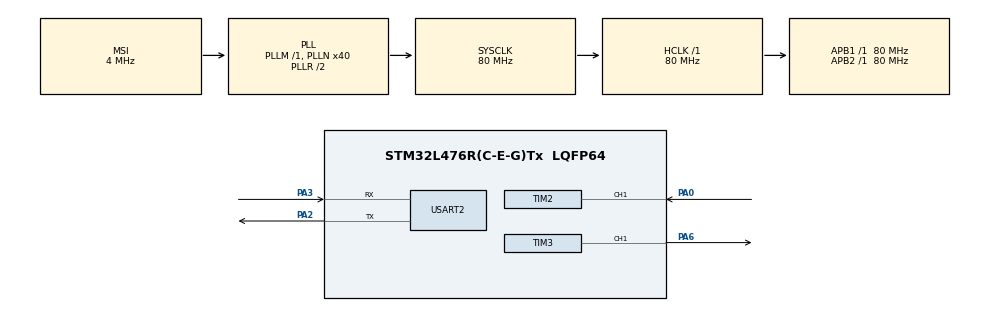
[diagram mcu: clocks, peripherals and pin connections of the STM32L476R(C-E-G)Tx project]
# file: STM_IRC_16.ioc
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Dma.Request0=TIM3_CH1/TRIG
Dma.TIM3_CH1/TRIG.0.Direction=DMA_MEMORY_TO_PERIPH
Dma.TIM3_CH1/TRIG.0.Instance=DMA1_Channel6
Dma.TIM3_CH1/TRIG.0.MemDataAlignment=DMA_MDATAALIGN_BYTE
Dma.TIM3_CH1/TRIG.0.MemInc=DMA_MINC_ENABLE
Dma.TIM3_CH1/TRIG.0.Mode=DMA_NORMAL
Dma.TIM3_CH1/TRIG.0.PeriphDataAlignment=DMA_PDATAALIGN_HALFWORD
Dma.TIM3_CH1/TRIG.0.PeriphInc=DMA_PINC_DISABLE
Dma.TIM3_CH1/TRIG.0.Priority=DMA_PRIORITY_LOW
Mcu.Family=STM32L4
Mcu.Name=STM32L476R(C-E-G)Tx
Mcu.Package=LQFP64
NVIC.DMA1_Channel6_IRQn=true\:0\:0\:false\:false\:true\:false\:true\:true
NVIC.PriorityGroup=NVIC_PRIORITYGROUP_4
NVIC.TIM2_IRQn=true\:2\:0\:true\:false\:true\:true\:true\:true
PA0.Signal=S_TIM2_CH1
PA13\ (JTMS-SWDIO).Mode=Serial_Wire
PA13\ (JTMS-SWDIO).Signal=SYS_JTMS-SWDIO
PA14\ (JTCK-SWCLK).Mode=Serial_Wire
PA14\ (JTCK-SWCLK).Signal=SYS_JTCK-SWCLK
PA2.Mode=Asynchronous
PA2.Signal=USART2_TX
PA3.Mode=Asynchronous
PA3.Signal=USART2_RX
PA6.Signal=S_TIM3_CH1
ProjectManager.HeapSize=0x200
ProjectManager.StackSize=0x400
ProjectManager.TargetToolchain=STM32CubeIDE
RCC.AHBFreq_Value=80000000
RCC.APB1Freq_Value=80000000
RCC.APB1TimFreq_Value=80000000
RCC.APB2Freq_Value=80000000
RCC.APB2TimFreq_Value=80000000
RCC.CortexFreq_Value=80000000
RCC.HCLKFreq_Value=80000000
RCC.HSE_VALUE=8000000
RCC.HSI_VALUE=16000000
RCC.LSE_VALUE=32768
RCC.MSI_VALUE=4000000
RCC.PLLN=40
RCC.SYSCLKFreq_VALUE=80000000
RCC.SYSCLKSource=RCC_SYSCLKSOURCE_PLLCLK
RCC.VCOOutputFreq_Value=160000000
SH.S_TIM2_CH1.0=TIM2_CH1,TriggerSource_TI1ED
SH.S_TIM2_CH1.1=TIM2_CH1,Input_Capture1_from_TI1
SH.S_TIM3_CH1.0=TIM3_CH1,PWM Generation1 CH1
TIM2.Channel-Input_Capture1_from_TI1=TIM_CHANNEL_1
TIM2.ICPolarity_CH1=TIM_INPUTCHANNELPOLARITY_FALLING
TIM2.Prescaler=79
TIM3.Channel-PWM\ Generation1\ CH1=TIM_CHANNEL_1
TIM3.Period=99
USART2.VirtualMode-Asynchronous=VM_ASYNC
VP_TIM2_VS_ClockSourceINT.Mode=Internal
VP_TIM2_VS_ControllerModeReset.Mode=Reset Mode
VP_TIM3_VS_ClockSourceINT.Mode=Internal
board=custom

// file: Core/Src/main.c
/* USER CODE BEGIN Header */
/**
  ******************************************************************************
  * @file           : main.c
  * @brief          : Main program body
  ******************************************************************************
  * @attention
  *
  * Copyright (c) 2024 STMicroelectronics.
  * All rights reserved.
  *
  * This software is licensed under terms that can be found in the LICENSE file
  * in the root directory of this software component.
  * If no LICENSE file comes with this software, it is provided AS-IS.
  *
  ******************************************************************************
  */
/* USER CODE END Header */
#include "main.h"
#include "dma.h"
#include "tim.h"
#include "usart.h"
#include "gpio.h"

/* USER CODE BEGIN Includes */
#include <stdio.h>
#include "ir.h"
#include "ws2812b.h"
/* USER CODE END Includes */

void SystemClock_Config(void);

/* USER CODE BEGIN 0 */
int __io_putchar(int ch)
{
	if(ch == '\n')
		__io_putchar('\r');

	HAL_UART_Transmit(&huart2, (uint8_t*)&ch, 1, HAL_MAX_DELAY);
	return 1;
}

void HAL_TIM_IC_CaptureCallback(TIM_HandleTypeDef *htim)
{
  pulse_t new_val;

  if (htim == &htim2) {
    switch (HAL_TIM_GetActiveChannel(&htim2)) {
      case HAL_TIM_ACTIVE_CHANNEL_1:
    	  ir_tim_interrupt();
        break;
      default:
        break;
    }
  }
}
/* USER CODE END 0 */

int main(void)
{

  /* MCU Configuration--------------------------------------------------------*/

  /* Reset of all peripherals, Initializes the Flash interface and the Systick. */
  HAL_Init();

  /* Configure the system clock */
  SystemClock_Config();

  /* Initialize all configured peripherals */
  MX_GPIO_Init();
  MX_DMA_Init();
  MX_TIM2_Init();
  MX_USART2_UART_Init();
  MX_TIM3_Init();
  /* USER CODE BEGIN 2 */
  ir_init();
  /* USER CODE END 2 */

  /* Infinite loop */
  while (1)
  {
	  /*
	   * program testowy dla modułu ws2812b który jest u mnie uszkodzony
	   */
	  int value = ir_read();
	  switch (value) {
	  case IR_CODE_1:
	    ws2812b_set_color(0, 255, 0, 0);
	    ws2812b_update();
	    break;
	  case IR_CODE_2:
	    ws2812b_set_color(0, 0, 255, 0);
	    ws2812b_update();
	    break;
	  case IR_CODE_3:
	    ws2812b_set_color(0, 0, 0, 255);
	    ws2812b_update();
	    break;
	  case IR_CODE_ONOFF:
	    ws2812b_set_color(0, 0, 0, 0);
	    ws2812b_update();
	    break;
	  }
  }
}

void SystemClock_Config(void)
{
  RCC_OscInitTypeDef RCC_OscInitStruct = {0};
  RCC_ClkInitTypeDef RCC_ClkInitStruct = {0};

  /** Configure the main internal regulator output voltage
  */
  if (HAL_PWREx_ControlVoltageScaling(PWR_REGULATOR_VOLTAGE_SCALE1) != HAL_OK)
  {
    Error_Handler();
  }

  /** Initializes the RCC Oscillators according to the specified parameters
  * in the RCC_OscInitTypeDef structure.
  */
  RCC_OscInitStruct.OscillatorType = RCC_OSCILLATORTYPE_MSI;
  RCC_OscInitStruct.MSIState = RCC_MSI_ON;
  RCC_OscInitStruct.MSICalibrationValue = 0;
  RCC_OscInitStruct.MSIClockRange = RCC_MSIRANGE_6;
  RCC_OscInitStruct.PLL.PLLState = RCC_PLL_ON;
  RCC_OscInitStruct.PLL.PLLSource = RCC_PLLSOURCE_MSI;
  RCC_OscInitStruct.PLL.PLLM = 1;
  RCC_OscInitStruct.PLL.PLLN = 40;
  RCC_OscInitStruct.PLL.PLLP = RCC_PLLP_DIV7;
  RCC_OscInitStruct.PLL.PLLQ = RCC_PLLQ_DIV2;
  RCC_OscInitStruct.PLL.PLLR = RCC_PLLR_DIV2;
  if (HAL_RCC_OscConfig(&RCC_OscInitStruct) != HAL_OK)
  {
    Error_Handler();
  }

  /** Initializes the CPU, AHB and APB buses clocks
  */
  RCC_ClkInitStruct.ClockType = RCC_CLOCKTYPE_HCLK|RCC_CLOCKTYPE_SYSCLK
                              |RCC_CLOCKTYPE_PCLK1|RCC_CLOCKTYPE_PCLK2;
  RCC_ClkInitStruct.SYSCLKSource = RCC_SYSCLKSOURCE_PLLCLK;
  RCC_ClkInitStruct.AHBCLKDivider = RCC_SYSCLK_DIV1;
  RCC_ClkInitStruct.APB1CLKDivider = RCC_HCLK_DIV1;
  RCC_ClkInitStruct.APB2CLKDivider = RCC_HCLK_DIV1;

  if (HAL_RCC_ClockConfig(&RCC_ClkInitStruct, FLASH_LATENCY_4) != HAL_OK)
  {
    Error_Handler();
  }
}

void Error_Handler(void)
{
  __disable_irq();
  while (1)
  {
  }
}
